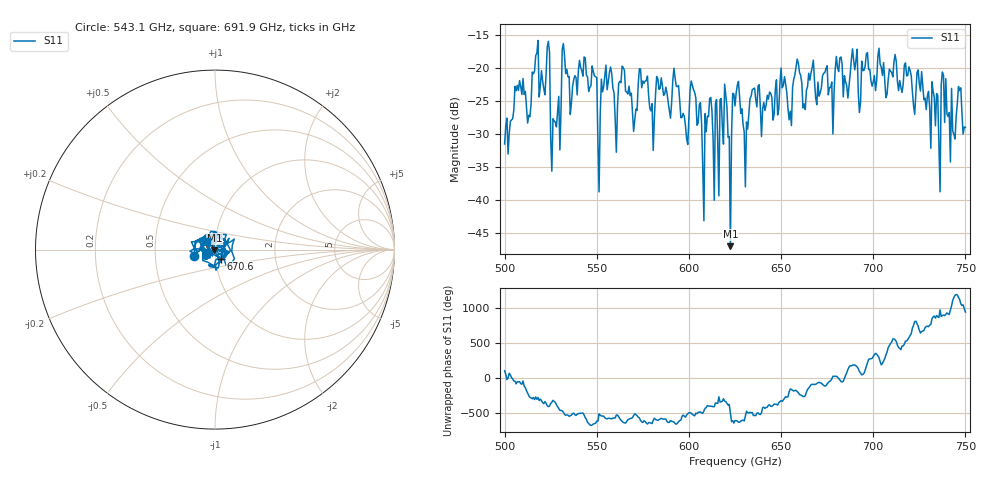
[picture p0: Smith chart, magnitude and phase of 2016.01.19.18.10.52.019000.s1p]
!Created with skrf (http://scikit-rf.org).
# GHz S RI R 50.0
!freq ReS11 ImS11
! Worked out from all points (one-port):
!   401 points, 500 GHz to 750 GHz, reference 50 ohm
!   lowest |S11| = -47.0 dB at 622.5 GHz (marker M1), VSWR 1.01, Z = 49.7 - j0.292 ohm
!   |S11| at or under -10 dB: start of sweep to end of sweep
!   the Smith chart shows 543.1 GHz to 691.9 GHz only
!   S11 on the Smith chart (normalised r, x): 543.1 GHz: 0.79, -0.05; 670.6 GHz: 1.06, -0.11; 691.9 GHz: 0.91, +0.08
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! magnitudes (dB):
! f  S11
! 500 GHz  -31.5
! 506.9 GHz  -22.6
! 513.1 GHz  -27.2
! 516.9 GHz  -18.1
! 523.1 GHz  -16.8
! 526.2 GHz  -27.7
! 531.2 GHz  -17.2
! 543.1 GHz  -18.3
! 551.9 GHz  -27.1
! 553.8 GHz  -22.8
! 562.5 GHz  -22.0
! 593.8 GHz  -22.8
! 598.8 GHz  -30.7
! 602.5 GHz  -23.3
! 608.1 GHz  -43.1
! 611.2 GHz  -24.6
! 615 GHz  -24.8
! 620.6 GHz  -25.8
! 622.5 GHz  -47.0
! 625 GHz  -25.7
! 630.6 GHz  -38.0
! 634.4 GHz  -23.3
! 656.2 GHz  -22.9
! 670.6 GHz  -24.3
! 687.5 GHz  -20.9
! 691.9 GHz  -23.7
! 718.8 GHz  -21.1
! 750 GHz  -29.0
